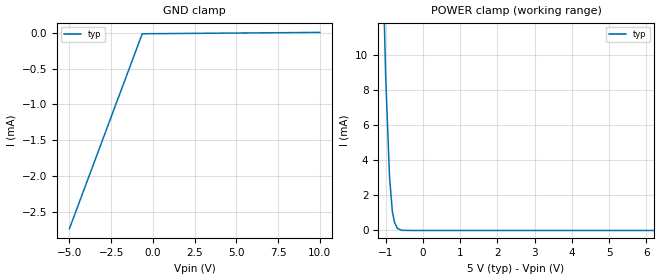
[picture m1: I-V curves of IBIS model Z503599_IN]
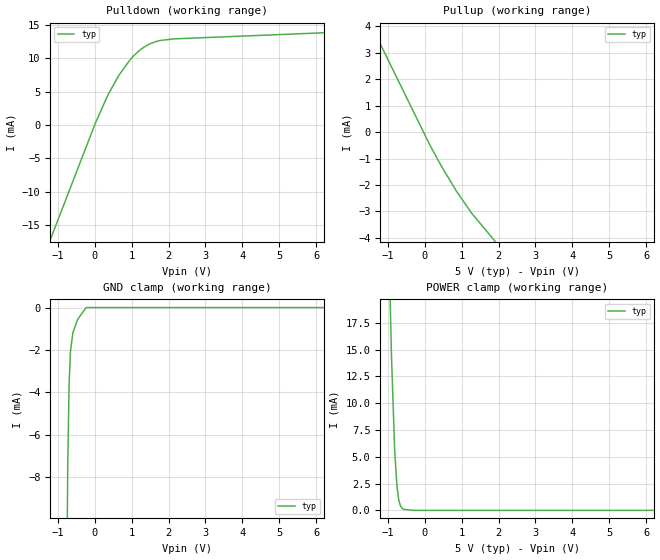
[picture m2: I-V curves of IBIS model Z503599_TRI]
| YOU ARE ONLY AUTHORIZED TO USE THIS SOFTWARE
| ACCORDING TO LICENSOR'S LICENSE RESTRICTIONS.
[IBIS Ver] 3.1
[File Name] mc14502bcl.ibs
[File Rev] 2.0
[Source] Measured and created by ICX Technology
[Date] Friday 7/14/00 9:07:54 AM
[Copyright]
| (C) COPYRIGHT 1993-2000
| MENTOR GRAPHICS CORPORATION
| ICX STANDARD LIBRARY, ICX PROJECT MODELING,
| ICX CUSTOM MODELING, ICX VENDOR MODEL
| ALL RIGHTS RESERVED.
| THE FOLLOWING ARE TRADEMARKS OR SERVICE MARKS OF
| MENTOR GRAPHICS CORPORATION:ICX (R), ICX STANDARD
| LIBRARY(R), ICX PROJECT MODELING(R), ICX CUSTOM
| MODELING(R), qualityIBIS(TM), MODELVIEWER(TM),
| AND MODELEDITOR(TM)
| ALL COPIES OF SOFTWARE, INCLUDING BUT NOT LIMITED TO
| ANY MODIFICATIONS, ENHANCEMENTS OR DERIVATIVE WORKS,
| MUST CONTAIN ALL MENTOR GRAPHICS CORPORATION'S
| NOTICES AND LEGENDS, INCLUDING THOSE EMBEDDED IN
| SOFTWARE AND THOSE AFFIXED TO SOFTWARE MEDIUM
| AND CONTAINER, AS RECEIVED FROM MENTOR GRAPHICS
| CORPORATION.
|  ZAP Model Builder 2.7
[Component] MC14502BCL
[Manufacturer] OnSemiconductor
[Package]
| variable   typ   min   max
R_pkg  .212ohms NA NA
L_pkg  4.758nH NA NA
C_pkg  1.944pF NA NA
[Pin] signal_name  model_name  R_pin  L_pin C_pin
1 D3 Z503599_IN .224 7.258n 2.683p
2 Q3 Z503599_TRI .216 5.258n 2.19p
3 D1 Z503599_IN .208 3.758n 1.697p
4 DISABLE Z503599_IN .2 2.758n 1.204p
5 Q1 Z503599_TRI .2 2.758n 1.204p
6 D2 Z503599_IN .208 3.758n 1.697p
7 Q2 Z503599_TRI .216 5.258n 2.19p
8 VSS POWER .224 7.258n 2.683p
9 Q4 Z503599_TRI .224 7.258n 2.683p
10 D4 Z503599_IN .216 5.258n 2.19p
11 Q5 Z503599_TRI .208 3.758n 1.697p
12 INH Z503599_IN .2 2.758n 1.204p
13 D5 Z503599_IN .2 2.758n 1.204p
14 Q6 Z503599_TRI .208 3.758n 1.697p
15 D6 Z503599_IN .216 5.258n 2.19p
16 VDD POWER .224 7.258n 2.683p
| Models and submodels in the file (2): Z503599_IN (Input), Z503599_TRI (3-state)
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| (C) COPYRIGHT 1993-2000
| MENTOR GRAPHICS CORPORATION
| ICX STANDARD LIBRARY, ICX PROJECT MODELING,
| ICX CUSTOM MODELING, ICX VENDOR MODEL
| ALL RIGHTS RESERVED.
| THE FOLLOWING ARE TRADEMARKS OR SERVICE MARKS OF
| MENTOR GRAPHICS CORPORATION:ICX (R), ICX STANDARD
| LIBRARY(R), ICX PROJECT MODELING(R), ICX CUSTOM
| MODELING(R), qualityIBIS(TM), MODELVIEWER(TM),
| AND MODELEDITOR(TM)
| ALL COPIES OF SOFTWARE, INCLUDING BUT NOT LIMITED TO
| ANY MODIFICATIONS, ENHANCEMENTS OR DERIVATIVE WORKS,
| MUST CONTAIN ALL MENTOR GRAPHICS CORPORATION'S
| NOTICES AND LEGENDS, INCLUDING THOSE EMBEDDED IN
| SOFTWARE AND THOSE AFFIXED TO SOFTWARE MEDIUM
| AND CONTAINER, AS RECEIVED FROM MENTOR GRAPHICS
| CORPORATION.
| Model Application Version 1.89 2/18/99.
[Model] Z503599_IN
Model_type Input
Vinl = 1.500V
Vinh = 3.500V
C_comp 4.000pF NA NA
| variable typ   min   max
[Voltage Range] 5.000V NA NA
[GND Clamp Reference] 0.000V NA NA
[POWER Clamp Reference] 5.000V NA NA
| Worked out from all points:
|   POWER clamp passes 1 mA (typ) near -0.81 V on its own axis
[GND Clamp]
-5V       -2.739mA   NA         NA
-639.5mV  -14.06uA   NA         NA
10V       5.032uA    NA         NA
[POWER Clamp]
-5V       349.6mA    NA         NA
-1V       8.774mA    NA         NA
-897mV    3.05mA     NA         NA
-820mV    1.067mA    NA         NA
-762mV    461.4uA    NA         NA
-688mV    122.6uA    NA         NA
-571mV    9.291uA    NA         NA
-285.5mV  0A         NA         NA
10V       0A         NA         NA
| (C) COPYRIGHT 1993-2000
| MENTOR GRAPHICS CORPORATION
| ICX STANDARD LIBRARY, ICX PROJECT MODELING,
| ICX CUSTOM MODELING, ICX VENDOR MODEL
| ALL RIGHTS RESERVED.
| THE FOLLOWING ARE TRADEMARKS OR SERVICE MARKS OF
| MENTOR GRAPHICS CORPORATION:ICX (R), ICX STANDARD
| LIBRARY(R), ICX PROJECT MODELING(R), ICX CUSTOM
| MODELING(R), qualityIBIS(TM), MODELVIEWER(TM),
| AND MODELEDITOR(TM)
| ALL COPIES OF SOFTWARE, INCLUDING BUT NOT LIMITED TO
| ANY MODIFICATIONS, ENHANCEMENTS OR DERIVATIVE WORKS,
| MUST CONTAIN ALL MENTOR GRAPHICS CORPORATION'S
| NOTICES AND LEGENDS, INCLUDING THOSE EMBEDDED IN
| SOFTWARE AND THOSE AFFIXED TO SOFTWARE MEDIUM
| AND CONTAINER, AS RECEIVED FROM MENTOR GRAPHICS
| CORPORATION.
| Model Application Version 1.89 2/18/99.
[Model] Z503599_TRI
Model_type 3-state
Vref=0.000V
Rref=500.0Mohms
Cref=50.00pF
Vmeas=2.500V
C_comp 8.000pF NA NA
| variable typ   min   max
[Voltage Range] 5.000V NA NA
[POWER Clamp Reference] 5.000V NA NA
[Pullup Reference] 5.000V NA NA
[Pulldown Reference] 0.000V NA NA
[GND Clamp Reference] 0.000V NA NA
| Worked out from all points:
|   slope of the pulldown table from 0 to 0.75 V, typ, clamps not added: 91.8 ohm
|   slope of the pullup table from 0 to 0.75 V, typ, clamps not added: 396 ohm
|   GND clamp passes 1 mA (typ) near -0.55 V on its own axis
|   POWER clamp passes 1 mA (typ) near -0.70 V on its own axis
[GND Clamp]
-5V       -957.8mA   NA         NA
-727.1mV  -7.359mA   NA         NA
-691.1mV  -3.674mA   NA         NA
-654.3mV  -2.06mA    NA         NA
-588.5mV  -1.191mA   NA         NA
-458.9mV  -556.1uA   NA         NA
-229.5mV  0A         NA         NA
10V       0A         NA         NA
[Pulldown]
-5V       -71.54mA   NA         NA
24.72mV   356.1uA    NA         NA
362.5mV   4.535mA    NA         NA
650mV     7.401mA    NA         NA
947.8mV   9.687mA    NA         NA
1.211V    11.16mA    NA         NA
1.328V    11.64mA    NA         NA
1.655V    12.5mA     NA         NA
2.134V    12.9mA     NA         NA
10V       14.67mA    NA         NA
[Pullup]
-5V       14.16mA    NA         NA
161mV     -543.2uA   NA         NA
453mV     -1.285mA   NA         NA
859mV     -2.231mA   NA         NA
1.27V     -3.063mA   NA         NA
10V       -17.68mA   NA         NA
[POWER Clamp]
-5V       626.8mA    NA         NA
-898mV    14.56mA    NA         NA
-810mV    5.584mA    NA         NA
-747mV    2.179mA    NA         NA
-699mV    941.7uA    NA         NA
-649mV    363.1uA    NA         NA
-576mV    98.05uA    NA         NA
-288mV    0A         NA         NA
10V       0A         NA         NA
[Ramp]
| variable typ min max
dV/dt_r 2.611/22.41n NA NA
dV/dt_f 2.611/17.59n NA NA
R_load = 2.500kOhms
